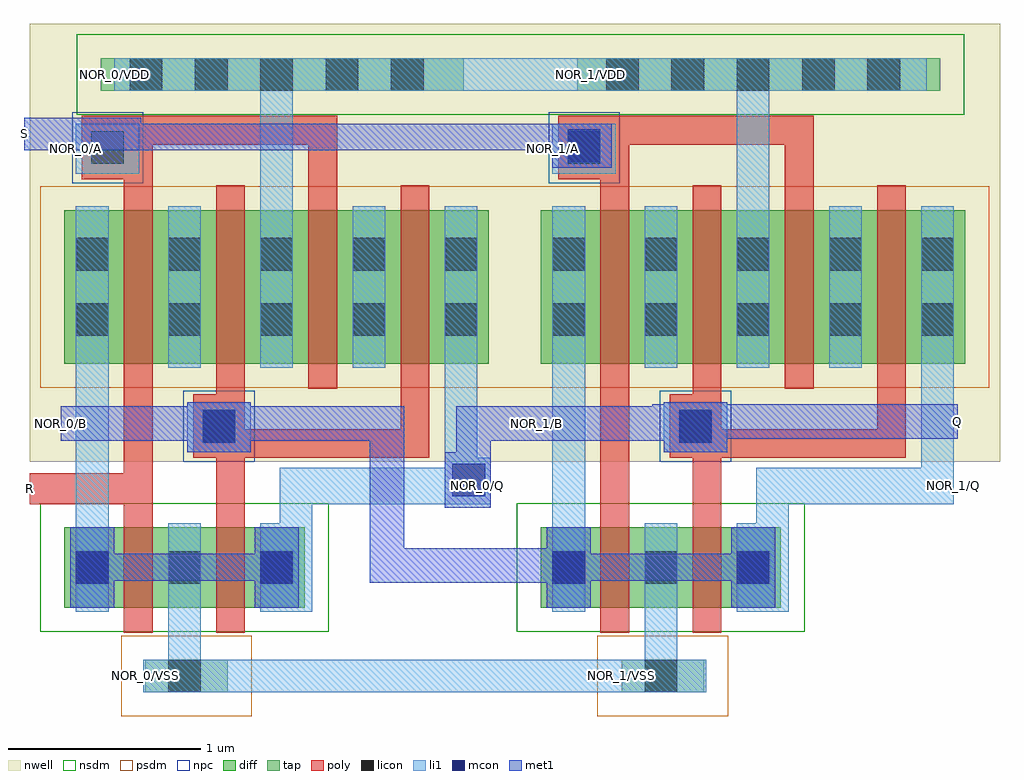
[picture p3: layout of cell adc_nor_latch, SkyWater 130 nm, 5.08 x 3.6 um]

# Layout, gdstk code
import gdstk
lib = gdstk.Library(unit=1e-6, precision=1e-09)
def R(c, l, rs):  # rectangles x0, y0, x1, y1
    for r in rs: c.add(gdstk.rectangle(r[:2], r[2:], *l))
def A(c, l, x, y, w, h, nx, ny, dx, dy):  # array of equal rectangles
    R(c, l, [(x+i*dx, y+j*dy, x+i*dx+w, y+j*dy+h) for i in range(nx) for j in range(ny)])
nwell = (64, 20)
diff = (65, 20)
tap = (65, 44)
poly = (66, 20)
licon = (66, 44)
li1 = (67, 20)
mcon = (67, 44)
met1 = (68, 20)
nsdm = (93, 44)
psdm = (94, 20)
npc = (95, 20)

adc_nor_latch = lib.new_cell('adc_nor_latch')
R(adc_nor_latch, nwell, [(0,1.2,5.05,3.48)])
R(adc_nor_latch, diff, [(0.18,0.44,1.43,0.86), (2.66,0.44,3.91,0.86), (0.18,1.71,2.39,2.51), (2.66,1.71,4.87,2.51)])
R(adc_nor_latch, tap, [(0.6,0,1.03,0.17), (3.08,0,3.51,0.17), (0.37,3.13,2.26,3.3), (2.85,3.13,4.74,3.3)])
R(adc_nor_latch, poly, [(0.49,0.31,0.64,0.98), (0.97,0.31,1.12,1.22), (2.97,0.31,3.12,2.67), (3.45,0.31,3.6,1.22), (0,0.98,0.64,1.14), (0.49,1.14,0.64,2.67), (0.85,1.22,2.08,1.37), (3.33,1.22,4.56,1.37), (0.85,1.37,1.12,1.55), (1.93,1.37,2.08,2.64), (3.33,1.37,3.6,1.55), (4.41,1.37,4.56,2.64), (0.97,1.55,1.12,2.64), (3.45,1.55,3.6,2.64), (1.45,1.58,1.6,2.85), (3.93,1.58,4.08,2.85), (0.27,2.67,0.64,2.85), (2.75,2.67,3.12,2.85), (0.27,2.85,1.6,3), (2.75,2.85,4.08,3)])
A(adc_nor_latch, licon, 0.24, 0.565, 0.17, 0.17, 3, 1, 0.48, 0)
A(adc_nor_latch, licon, 2.72, 0.565, 0.17, 0.17, 3, 1, 0.48, 0)
A(adc_nor_latch, licon, 0.24, 1.855, 0.17, 0.17, 5, 2, 0.48, 0.34)
A(adc_nor_latch, licon, 2.72, 1.855, 0.17, 0.17, 5, 2, 0.48, 0.34)
A(adc_nor_latch, licon, 0.52, 3.13, 0.17, 0.17, 5, 1, 0.34, 0)
A(adc_nor_latch, licon, 3, 3.13, 0.17, 0.17, 5, 1, 0.34, 0)
R(adc_nor_latch, licon, [(0.72,0,0.89,0.17), (3.2,0,3.37,0.17), (0.9,1.3,1.07,1.47), (3.38,1.3,3.55,1.47), (0.32,2.75,0.49,2.92), (2.8,2.75,2.97,2.92)])
R(adc_nor_latch, li1, [(0.59,0,3.52,0.17), (0.72,0.17,0.89,0.88), (3.2,0.17,3.37,0.88), (0.24,0.42,0.41,2.53), (1.2,0.42,1.47,0.88), (2.72,0.42,2.89,2.53), (3.68,0.42,3.95,0.88), (1.3,0.88,1.47,0.98), (3.78,0.88,3.95,0.98), (1.3,0.98,2.4,1.17), (3.78,0.98,4.81,1.17), (2.16,1.17,2.4,1.22), (4.64,1.17,4.81,2.53), (2.16,1.22,2.33,2.53), (0.82,1.25,1.15,1.51), (3.3,1.25,3.63,1.51), (0.72,1.69,0.89,2.53), (1.2,1.69,1.37,3.13), (1.68,1.69,1.85,2.53), (3.2,1.69,3.37,2.53), (3.68,1.69,3.85,3.13), (4.16,1.69,4.33,2.53), (0.24,2.7,0.57,2.96), (2.72,2.7,3.05,2.96), (0.44,3.13,4.67,3.3)])
R(adc_nor_latch, mcon, [(0.24,0.565,0.41,0.735), (1.2,0.565,1.37,0.735), (2.72,0.565,2.89,0.735), (3.68,0.565,3.85,0.735), (2.2,1.02,2.37,1.19), (0.9,1.3,1.07,1.47), (3.38,1.3,3.55,1.47), (2.8,2.76,2.97,2.93)])
R(adc_nor_latch, met1, [(0.21,0.44,0.44,0.58), (1.17,0.44,1.4,0.58), (2.69,0.44,2.92,0.57), (3.65,0.44,3.88,0.58), (1.77,0.57,2.92,0.58), (0.21,0.58,1.4,0.72), (1.77,0.58,3.88,0.72), (0.21,0.72,0.44,0.86), (1.17,0.72,1.4,0.86), (1.77,0.72,2.92,0.75), (3.65,0.72,3.88,0.86), (1.77,0.75,1.95,1.31), (2.69,0.75,2.92,0.86), (2.16,0.96,2.4,1.25), (0.82,1.25,1.15,1.31), (2.22,1.25,2.4,1.31), (3.3,1.25,3.63,1.31), (0.16,1.31,1.95,1.49), (2.22,1.31,3.63,1.32), (2.22,1.32,4.83,1.49), (0.82,1.49,1.15,1.51), (3.24,1.49,4.83,1.5), (3.3,1.5,3.63,1.51), (2.72,2.73,3.03,2.82), (-0.03,2.82,3.03,2.96), (-0.03,2.96,0.58,2.99)])
R(adc_nor_latch, nsdm, [(0.055,0.315,1.555,0.985), (2.535,0.315,4.035,0.985), (0.245,3.005,4.865,3.425)])
R(adc_nor_latch, psdm, [(0.475,-0.125,1.155,0.295), (2.955,-0.125,3.635,0.295), (0.055,1.585,4.995,2.635)])
R(adc_nor_latch, npc, [(0.8,1.2,1.17,1.57), (3.28,1.2,3.65,1.57), (0.22,2.65,0.59,3.02), (2.7,2.65,3.07,3.02)])
adc_nor_latch.add(gdstk.Label('NOR_1/VDD', (2.92,3.215), layer=67, texttype=5))
adc_nor_latch.add(gdstk.Label('NOR_1/Q', (4.81,1.075), layer=67, texttype=5))
adc_nor_latch.add(gdstk.Label('NOR_1/B', (2.64,1.4), layer=68, texttype=5))
adc_nor_latch.add(gdstk.Label('NOR_1/A', (2.72,2.83), layer=67, texttype=5))
adc_nor_latch.add(gdstk.Label('NOR_1/VSS', (3.08,0.085), layer=67, texttype=5))
adc_nor_latch.add(gdstk.Label('NOR_0/VDD', (0.44,3.215), layer=67, texttype=5))
adc_nor_latch.add(gdstk.Label('NOR_0/Q', (2.33,1.075), layer=67, texttype=5))
adc_nor_latch.add(gdstk.Label('NOR_0/B', (0.16,1.4), layer=68, texttype=5))
adc_nor_latch.add(gdstk.Label('NOR_0/A', (0.24,2.83), layer=67, texttype=5))
adc_nor_latch.add(gdstk.Label('NOR_0/VSS', (0.6,0.085), layer=67, texttype=5))
adc_nor_latch.add(gdstk.Label('R', (0,1.06), layer=66, texttype=16))
adc_nor_latch.add(gdstk.Label('QN', (4.81,1.08), layer=67, texttype=16))
adc_nor_latch.add(gdstk.Label('VDD', (0.44,3.215), layer=67, texttype=16))
adc_nor_latch.add(gdstk.Label('VSS', (0.59,0.085), layer=67, texttype=16))
adc_nor_latch.add(gdstk.Label('Q', (4.83,1.41), layer=68, texttype=16))
adc_nor_latch.add(gdstk.Label('S', (-0.03,2.91), layer=68, texttype=16))

lib.write_gds('adc_nor_latch.gds')
